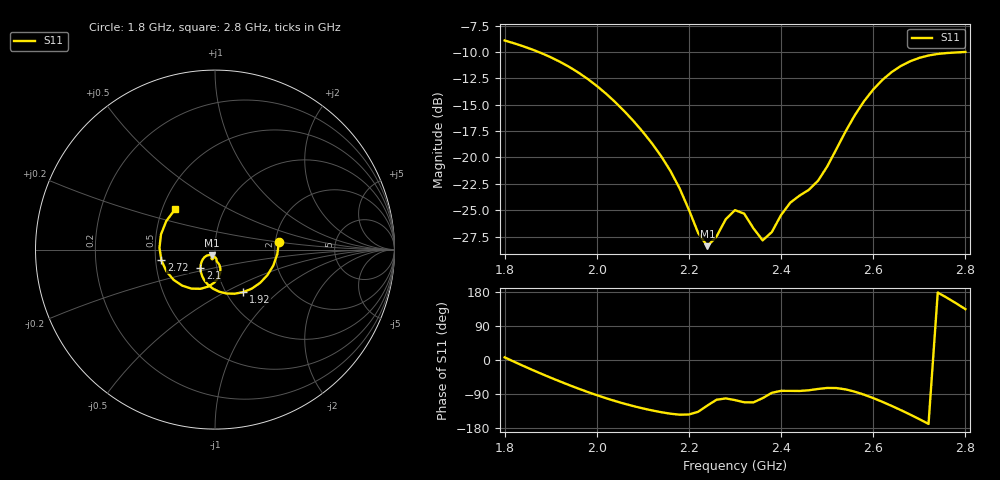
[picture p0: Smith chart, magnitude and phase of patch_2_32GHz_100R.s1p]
! Touchstone file exported from HFSS 2024.1.0
!  File:  /home/ubuntu/Ansoft/repo/patch_2_32GHz/sim_2_32GHz_3.aedt
!  Generated:  08:41:26 AM Nov 11, 2024
!  Design:  HFSSDesign1
!  Project:  sim_2_32GHz_3
!  Setup:  Setup1
!  Solution:  Sweep
! Variables:
!  R0 = 100ohm
!  pad = 45mm
# GHz S MA R 50.000000
! Terminal data exported
! Port[1] = u141_0711_201_1_pin_T1
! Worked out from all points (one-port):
!   51 points, 1.8 GHz to 2.8 GHz, reference 50 ohm
!   lowest |S11| = -28.4 dB at 2.24 GHz (marker M1), VSWR 1.08, Z = 48 - j3.15 ohm
!   |S11| at or under -10 dB: 1.874 GHz to 2.798 GHz (924.1 MHz wide, 39.6 % of centre)
!   S11 on the Smith chart (normalised r, x): 1.8 GHz: 2.09, +0.21; 1.92 GHz: 1.20, -0.62; 2.1 GHz: 0.83, -0.18; 2.72 GHz: 0.54, -0.07; 2.8 GHz: 0.58, +0.29
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1.8  0.3587 7.0
1.82  0.348 -4.2
1.86  0.3249 -26.0
1.92  0.2842 -56.6
1.94  0.2689 -66.1
2  0.2184 -92.8
2.06  0.1655 -115.4
2.1  0.1322 -127.7
2.14  0.1012 -137.8
2.18  0.07116 -144.3
2.22  0.04381 -136.7
2.24  0.03795 -120.2
2.26  0.04219 -104.9
2.28  0.05094 -101.3
2.3  0.05625 -105.8
2.32  0.05408 -111.6
2.36  0.04042 -100.6
2.38  0.04429 -86.5
2.42  0.06103 -81.4
2.44  0.0659 -81.7
2.48  0.07741 -76.4
2.56  0.1585 -83.6
2.62  0.2333 -110.5
2.66  0.2715 -132.3
2.68  0.2857 -143.9
2.72  0.3044 -168.7
2.76  0.3127 164.2
2.8  0.3164 134.2
